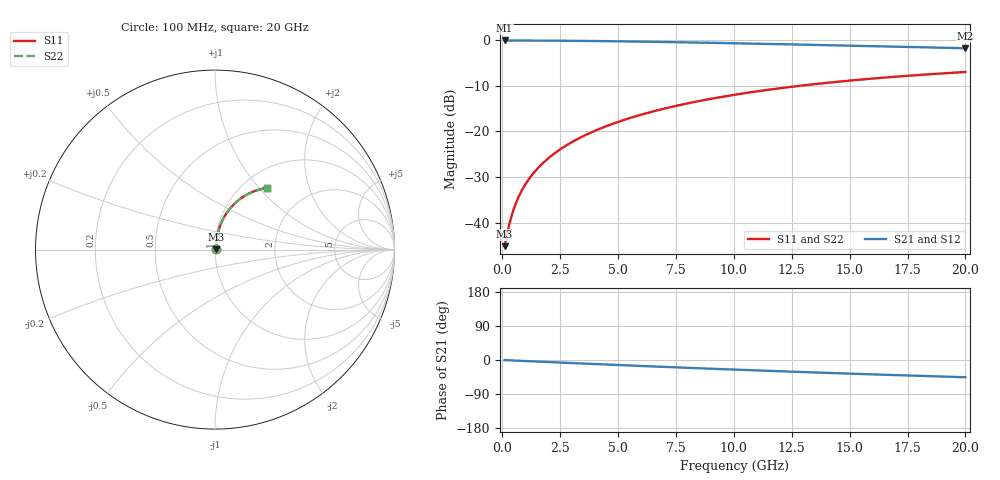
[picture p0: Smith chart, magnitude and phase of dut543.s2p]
! Touchstone file exported from HFSS 2024.1.0
!  File:  C:/UserFiles/LocalFiles/RDL_TSV_Batchsim/temp_RDL_top_543_1779680667.aedt
!  Generated:  11:47:18 AM May 25, 2026
!  Design:  RDL_top
!  Project:  temp_RDL_top_543_1779680667
!  Setup:  Setup1
!  Solution:  Sweep
! Variables:
!  dtsv = 10.80580581um
!  hbump = 3um
!  htsv = 91.21um
!  ldown = 100um
!  lrdl = 610.56um
!  p = 40
!  p1 = 49.88um
!  rhole = 1um
!  t = 450um
!  tdown = 3.915915916um
!  trdl = 2.64um
!  wdown = 15.38538539um
!  wrdl = 17.68um
# GHz S MA R 50.000000
! Terminal data exported
! Port[1] = Box2_T1
! Port[2] = Box2_T2
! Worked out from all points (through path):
!   200 points, 100 MHz to 20 GHz, reference 50 ohm
!   highest |S21| = -0.04 dB at 100 MHz (marker M1); lowest = -1.7 dB at 20 GHz (marker M2)
!   group delay of S21, straight-line fit = 6.31 ps
!   lowest |S11| = -45.2 dB at 100 MHz (marker M3), VSWR 1.01, Z = 50.5 + j0.273 ohm
!   |S11| at or under -10 dB: start of sweep to 12.83 GHz
!   |S22| runs from -45.2 to -7.0 dB; largest |S21 - S12| = 3e-15
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0.1  0.005521 29.4  0.9952 -0.3  0.9952 -0.3  0.005521 29.4
! Gamma 0 0 0 0
! Port Impedance 50 0 50 0
0.3  0.009495 57.6  0.9949 -0.8  0.9949 -0.8  0.009495 57.6
0.4  0.01184 63.5  0.9947 -1.1  0.9947 -1.1  0.01184 63.5
0.5  0.01424 67.4  0.9945 -1.4  0.9945 -1.4  0.01424 67.4
0.6  0.01666 70.1  0.9943 -1.7  0.9943 -1.7  0.01666 70.1
0.8  0.02151 73.6  0.9938 -2.2  0.9938 -2.2  0.02151 73.6
1.1  0.02883 76.6  0.9932 -3.0  0.9932 -3.0  0.02884 76.6
1.3  0.03375 77.8  0.9927 -3.5  0.9927 -3.5  0.03375 77.8
1.6  0.04117 79.1  0.9918 -4.3  0.9918 -4.3  0.04117 79.0
2.1  0.05363 80.1  0.9902 -5.7  0.9902 -5.7  0.05363 80.0
2.7  0.06871 80.4  0.9878 -7.3  0.9878 -7.3  0.0687 80.4
3.5  0.08896 80.1  0.9837 -9.4  0.9837 -9.4  0.08896 80.0
4.2  0.1068 79.4  0.9795 -11.2  0.9795 -11.2  0.1068 79.4
5  0.1272 78.4  0.9739 -13.3  0.9739 -13.3  0.1272 78.3
5.9  0.1502 77.0  0.9669 -15.5  0.9669 -15.5  0.1502 76.9
6.8  0.1731 75.4  0.9592 -17.8  0.9592 -17.8  0.173 75.4
8.4  0.2131 72.4  0.9441 -21.6  0.9441 -21.6  0.213 72.4
10.1  0.2543 69.1  0.9267 -25.5  0.9267 -25.5  0.2541 69.0
11.7  0.2913 65.8  0.9095 -29.1  0.9095 -29.1  0.2911 65.7
13.4  0.3284 62.4  0.8907 -32.7  0.8907 -32.7  0.3282 62.3
16.7  0.3934 56.0  0.8537 -39.3  0.8537 -39.3  0.3931 55.9
20  0.4487 50.0  0.8176 -45.5  0.8176 -45.5  0.4483 49.9
